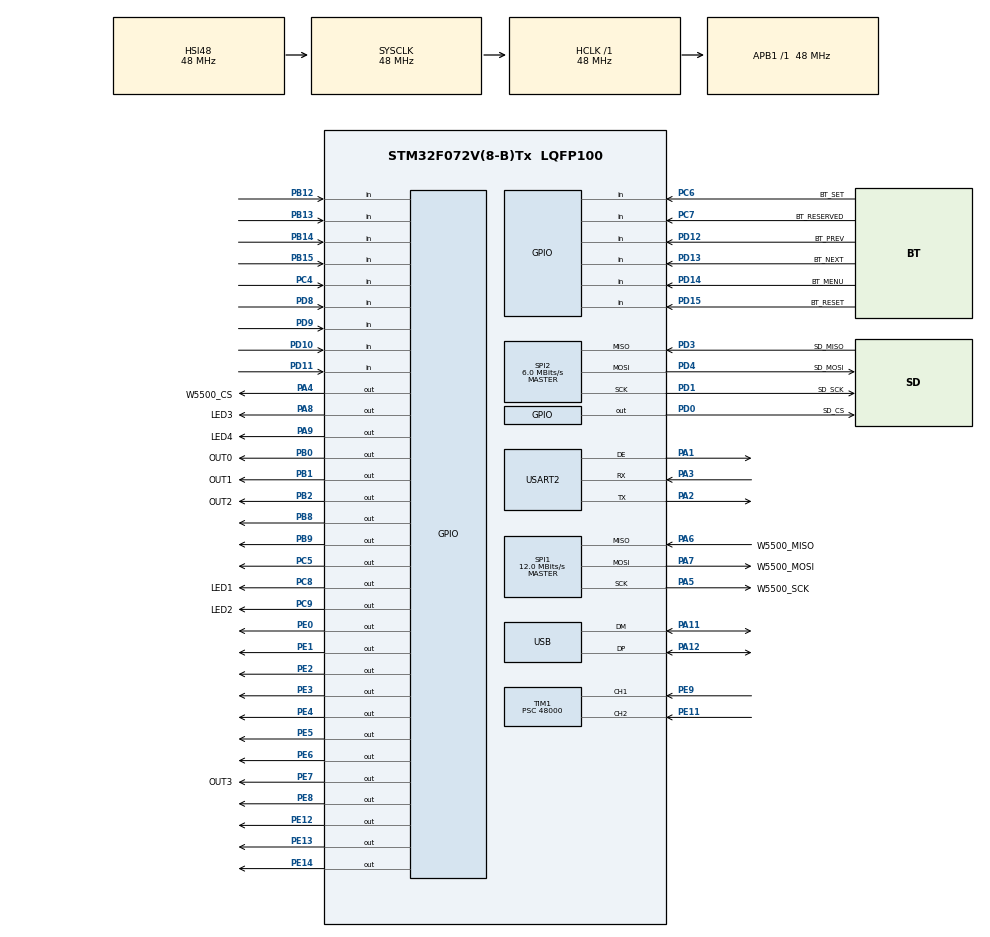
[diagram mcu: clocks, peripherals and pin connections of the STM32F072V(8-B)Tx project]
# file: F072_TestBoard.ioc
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FATFS._MAX_SS=4096
FATFS._USE_LFN=1
Mcu.Family=STM32F0
Mcu.Name=STM32F072V(8-B)Tx
Mcu.Package=LQFP100
NVIC.TIM1_CC_IRQn=true\:0\:0\:false\:false\:true\:true\:true\:true
NVIC.USB_IRQn=true\:0\:0\:false\:false\:true\:false\:true\:true
PA1.Mode=Hardware Flow Control (RS485)
PA1.Signal=USART2_DE
PA11.Mode=Device
PA11.Signal=USB_DM
PA12.Mode=Device
PA12.Signal=USB_DP
PA13.Mode=Serial_Wire
PA13.Signal=SYS_SWDIO
PA14.Mode=Serial_Wire
PA14.Signal=SYS_SWCLK
PA2.Mode=Asynchronous
PA2.Signal=USART2_TX
PA3.Mode=Asynchronous
PA3.Signal=USART2_RX
PA4.GPIO_Label=W5500_CS
PA4.Signal=GPIO_Output
PA5.GPIO_Label=W5500_SCK
PA5.Mode=Full_Duplex_Master
PA5.Signal=SPI1_SCK
PA6.GPIO_Label=W5500_MISO
PA6.Mode=Full_Duplex_Master
PA6.Signal=SPI1_MISO
PA7.GPIO_Label=W5500_MOSI
PA7.Mode=Full_Duplex_Master
PA7.Signal=SPI1_MOSI
PA8.GPIO_Label=LED3
PA8.Signal=GPIO_Output
PA9.GPIO_Label=LED4
PA9.Signal=GPIO_Output
PB0.GPIO_Label=OUT0
PB0.Signal=GPIO_Output
PB1.GPIO_Label=OUT1
PB1.Signal=GPIO_Output
PB12.Signal=GPIO_Input
PB13.Signal=GPIO_Input
PB14.Signal=GPIO_Input
PB15.Signal=GPIO_Input
PB2.GPIO_Label=OUT2
PB2.Signal=GPIO_Output
PB8.Signal=GPIO_Output
PB9.Signal=GPIO_Output
PC14-OSC32_IN.Mode=LSE-External-Oscillator
PC14-OSC32_IN.Signal=RCC_OSC32_IN
PC15-OSC32_OUT.Mode=LSE-External-Oscillator
PC15-OSC32_OUT.Signal=RCC_OSC32_OUT
PC4.GPIO_PuPd=GPIO_NOPULL
PC4.Signal=GPIO_Input
PC5.PinState=GPIO_PIN_SET
PC5.Signal=GPIO_Output
PC6.GPIO_Label=BT_SET
PC6.Signal=GPIO_Input
PC7.GPIO_Label=BT_RESERVED
PC7.Signal=GPIO_Input
PC8.GPIO_Label=LED1
PC8.GPIO_PuPd=GPIO_NOPULL
PC8.PinState=GPIO_PIN_RESET
PC8.Signal=GPIO_Output
PC9.GPIO_Label=LED2
PC9.GPIO_PuPd=GPIO_NOPULL
PC9.Signal=GPIO_Output
PD0.GPIO_Label=SD_CS
PD0.Signal=GPIO_Output
PD1.GPIO_Label=SD_SCK
PD1.Mode=Full_Duplex_Master
PD1.Signal=SPI2_SCK
PD10.Signal=GPIO_Input
PD11.Signal=GPIO_Input
PD12.GPIO_Label=BT_PREV
PD12.Signal=GPIO_Input
PD13.GPIO_Label=BT_NEXT
PD13.Signal=GPIO_Input
PD14.GPIO_Label=BT_MENU
PD14.Signal=GPIO_Input
PD15.GPIO_Label=BT_RESET
PD15.Signal=GPIO_Input
PD3.GPIO_Label=SD_MISO
PD3.Mode=Full_Duplex_Master
PD3.Signal=SPI2_MISO
PD4.GPIO_Label=SD_MOSI
PD4.Mode=Full_Duplex_Master
PD4.Signal=SPI2_MOSI
PD8.Signal=GPIO_Input
PD9.Signal=GPIO_Input
PE0.Signal=GPIO_Output
PE1.Signal=GPIO_Output
PE11.Signal=S_TIM1_CH2
PE12.Signal=GPIO_Output
PE13.Signal=GPIO_Output
PE14.Signal=GPIO_Output
PE2.Signal=GPIO_Output
PE3.Signal=GPIO_Output
PE4.Signal=GPIO_Output
PE5.Signal=GPIO_Output
PE6.Signal=GPIO_Output
PE7.GPIO_Label=OUT3
PE7.Signal=GPIO_Output
PE8.Signal=GPIO_Output
PE9.Signal=S_TIM1_CH1
PF0-OSC_IN.Mode=HSE-External-Oscillator
PF0-OSC_IN.Signal=RCC_OSC_IN
PF1-OSC_OUT.Mode=HSE-External-Oscillator
PF1-OSC_OUT.Signal=RCC_OSC_OUT
ProjectManager.HeapSize=0x200
ProjectManager.StackSize=0x400
ProjectManager.TargetToolchain=STM32CubeIDE
RCC.AHBFreq_Value=48000000
RCC.APB1Freq_Value=48000000
RCC.APB1TimFreq_Value=48000000
RCC.HCLKFreq_Value=48000000
RCC.SYSCLKFreq_VALUE=48000000
RCC.SYSCLKSource=RCC_SYSCLKSOURCE_HSI48
RTC.Date=1
RTC.Hours=10
RTC.Month=RTC_MONTH_JANUARY
RTC.Seconds=1
RTC.WeekDay=RTC_WEEKDAY_MONDAY
RTC.Year=1
SH.S_TIM1_CH1.0=TIM1_CH1,Input_Capture1_from_TI1
SH.S_TIM1_CH2.0=TIM1_CH2,Input_Capture2_from_TI2
SPI1.BaudRatePrescaler=SPI_BAUDRATEPRESCALER_4
SPI1.CalculateBaudRate=12.0 MBits/s
SPI1.DataSize=SPI_DATASIZE_8BIT
SPI1.Direction=SPI_DIRECTION_2LINES
SPI1.Mode=SPI_MODE_MASTER
SPI1.VirtualType=VM_MASTER
SPI2.BaudRatePrescaler=SPI_BAUDRATEPRESCALER_8
SPI2.CalculateBaudRate=6.0 MBits/s
SPI2.DataSize=SPI_DATASIZE_8BIT
SPI2.Direction=SPI_DIRECTION_2LINES
SPI2.Mode=SPI_MODE_MASTER
SPI2.VirtualType=VM_MASTER
TIM1.AutoReloadPreload=TIM_AUTORELOAD_PRELOAD_ENABLE
TIM1.Channel-Input_Capture1_from_TI1=TIM_CHANNEL_1
TIM1.Channel-Input_Capture2_from_TI2=TIM_CHANNEL_2
TIM1.Prescaler=48000
TIM7.Prescaler=48-1
USART2.VirtualMode-Asynchronous=VM_ASYNC
USART2.VirtualMode-Hardware\ Flow\ Control\ (RS485)=VM_ASYNC
USB_DEVICE.CLASS_NAME_FS=CDC
USB_DEVICE.VirtualMode=Cdc
USB_DEVICE.VirtualModeFS=Cdc_FS
VP_FATFS_VS_Generic.Mode=User_defined
VP_RTC_VS_RTC_Activate.Mode=RTC_Enabled
VP_RTC_VS_RTC_Calendar.Mode=RTC_Calendar
VP_TIM1_VS_ClockSourceINT.Mode=Internal
VP_TIM3_VS_ClockSourceINT.Mode=Internal
VP_TIM7_VS_ClockSourceINT.Mode=Enable_Timer
VP_USB_DEVICE_VS_USB_DEVICE_CDC_FS.Mode=CDC_FS
board=custom

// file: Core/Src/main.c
/* USER CODE BEGIN Header */
/**
  ******************************************************************************
  * @file           : main.c
  * @brief          : Main program body
  ******************************************************************************
  * @attention
  *
  * Copyright (c) 2023 STMicroelectronics.
  * All rights reserved.
  *
  * This software is licensed under terms that can be found in the LICENSE file
  * in the root directory of this software component.
  * If no LICENSE file comes with this software, it is provided AS-IS.
  *
  ******************************************************************************
  */
/* USER CODE END Header */
#include "main.h"
#include "fatfs.h"
#include "usb_device.h"

/* USER CODE BEGIN Includes */
#include "LCD.h"
#include "fatfs_sd.h"

//DHCP
#include "socket.h"
#include "wizchip_conf.h"
#include "string.h"
#include "stdio.h"
#include "dhcp.h"
#include "stdbool.h"
#include "mb.h"

#include "structer.h"
/* USER CODE END Includes */

/* USER CODE BEGIN PM */
//------------DHCP--------------
#define DHCP_SOCKET     0
#define SNTP_SOCKET      1
#define HTTP_SOCKET     0
#define MBTCP_PORT      502

#define REG_INPUT_START       0x0001
#define REG_INPUT_NREGS       8

#define REG_HOLDING_START     0x0001
#define REG_HOLDING_NREGS     8

#define REG_COILS_START       0x0001
#define REG_COILS_SIZE        16

#define REG_DISCRETE_START    0x0001
#define REG_DISCRETE_SIZE     16
//-------------------------------
/* USER CODE END PM */

RTC_HandleTypeDef hrtc;

SPI_HandleTypeDef hspi1;
SPI_HandleTypeDef hspi2;

TIM_HandleTypeDef htim1;
TIM_HandleTypeDef htim3;
TIM_HandleTypeDef htim7;

UART_HandleTypeDef huart2;

/* USER CODE BEGIN PV */
/*-------------SD card Fatfs-----------*/
FATFS fs;
FATFS *pfs;
FIL file;
FRESULT FOR; //file operation result
DWORD fre_clust;
uint32_t totalSpace, freeSpace;
/*-------------------------------------*/

/*--------------DHCP--------------------*/
uint8_t dhcp_buffer[1024];
volatile bool ip_assigned = false;

uint16_t usRegInputBuf[REG_INPUT_NREGS] = { 0x1000, 0x1001, 0x1002, 0x1003,
		0x1004, 0x1005, 0x1006, 0x1007 };
uint16_t usRegHoldingBuf[REG_HOLDING_NREGS] = { 0x2000, 0x2001, 0x2002, 0x2003,
		0x2004, 0x2005, 0x2006, 0x2007 };
uint8_t ucRegCoilsBuf[REG_COILS_SIZE / 8] = { 0xaa, 0xfe };
uint8_t ucRegDiscreteBuf[REG_DISCRETE_SIZE / 8] = { 0x98, 0x6e };
/*--------------------------------------*/
/* USER CODE END PV */

void SystemClock_Config(void);
static void MX_GPIO_Init(void);
static void MX_SPI1_Init(void);
static void MX_SPI2_Init(void);
static void MX_TIM1_Init(void);
static void MX_TIM3_Init(void);
static void MX_USART2_UART_Init(void);
static void MX_RTC_Init(void);
static void MX_TIM7_Init(void);
/* USER CODE BEGIN PFP */
static void process_SD_Card(void);

/*----------------DHCP-----------------*/
void W5500_Select() {
	HAL_GPIO_WritePin(W5500_CS_GPIO_Port, W5500_CS_Pin, GPIO_PIN_RESET); //CS LOW
}

void W5500_Unselect() {
	HAL_GPIO_WritePin(W5500_CS_GPIO_Port, W5500_CS_Pin, GPIO_PIN_SET); //CS HIGH
}

uint8_t W5500_ReadByte(void) {
	uint8_t rbuf;
	HAL_SPI_Receive(&hspi1, &rbuf, 1, 0xFFFFFFFF);
	return rbuf;
}

void W5500_WriteByte(uint8_t b) {
	HAL_SPI_Transmit(&hspi1, &b, 1, 0xFFFFFFFF);
}

void W5500_ReadBuff(uint8_t *buff, uint16_t len) {
	HAL_SPI_Receive(&hspi1, buff, len, HAL_MAX_DELAY);
}
void W5500_WriteBuff(uint8_t *buff, uint16_t len) {
	HAL_SPI_Transmit(&hspi1, buff, len, HAL_MAX_DELAY);
}

void Callback_IPAssigned(void) {
//	send_uart("Callback: IP assigned! Leased time: %d sec\r\n",
//			getDHCPLeasetime());
	ip_assigned = true;
}
void Callback_IPConflict(void) {
//	send_uart("Callback: IP conflict!\r\n");
}

void W5500_init() {
//	printf("W5500 init() called!");
	reg_wizchip_cs_cbfunc(W5500_Select, W5500_Unselect);
	reg_wizchip_spi_cbfunc(W5500_ReadByte, W5500_WriteByte);
	reg_wizchip_spiburst_cbfunc(W5500_ReadBuff, W5500_WriteBuff);
	uint8_t rx_tx_buff_sizes[] = { 2, 2, 2, 2, 2, 2, 2, 2 };
	wizchip_init(rx_tx_buff_sizes, rx_tx_buff_sizes);

//	send_uart("Calling DHCP_init()...\r\n");
	wiz_NetInfo net_info = { .mac = { 0xEA, 0x11, 0x22, 0x33, 0x44, 0xEA },
			.dhcp = NETINFO_DHCP };

	setSHAR(net_info.mac);

	DHCP_init(DHCP_SOCKET, dhcp_buffer);

//	send_uart("Registering DHCP callbacks...\r\n");
	reg_dhcp_cbfunc(Callback_IPAssigned, Callback_IPAssigned,Callback_IPConflict);

//	send_uart("Calling DHCP_run()...\r\n");
	uint32_t ctr = 1000000;
	while ((!ip_assigned) && (ctr > 0)) {
		DHCP_run();
		ctr--;
	}

	if (!ip_assigned) {
//		send_uart("\r\nIP was not assigned :(\r\n");
		return;
	}

	getIPfromDHCP(net_info.ip);
	getGWfromDHCP(net_info.gw);
	getSNfromDHCP(net_info.sn);

	uint8_t dns[4];
	getDNSfromDHCP(dns);
//	PRINT_NETINFO(net_info);

//	send_uart("Calling wizchip_setnetinfo()...\r\n");
	wizchip_setnetinfo(&net_info);

}
/*-------------------------------------*/
/* USER CODE END PFP */

int main(void)
{

  /* MCU Configuration--------------------------------------------------------*/

  /* Reset of all peripherals, Initializes the Flash interface and the Systick. */
  HAL_Init();

  /* Configure the system clock */
  SystemClock_Config();

  /* Initialize all configured peripherals */
  MX_GPIO_Init();
  MX_SPI1_Init();
  MX_SPI2_Init();
  MX_TIM1_Init();
  MX_TIM3_Init();
  MX_USART2_UART_Init();
  MX_FATFS_Init();
  MX_USB_DEVICE_Init();
  MX_RTC_Init();
  MX_TIM7_Init();
  /* USER CODE BEGIN 2 */
  HAL_TIM_Base_Start(&htim7);//use for delay_us in LCD

  	HAL_GPIO_WritePin(GPIOE, GPIO_PIN_6, 1);//turn on NTS_OE
	LCD_Init();
	LCD_Clear();
	LCD_Puts(0, 0, "ALO");
//HAL_TIM_OC_Start(&htim3, TIM_CHANNEL_3);
	process_SD_Card();
/*-------------------DHCP----------------*/
	W5500_init();
	HAL_Delay(200);
	eMBTCPInit(MBTCP_PORT);
	HAL_Delay(200);
	eMBEnable();
	/*--------------------------------*/

  /* USER CODE END 2 */

  /* Infinite loop */
  /* USER CODE BEGIN WHILE */
	while (1)
  {
//		HAL_GPIO_TogglePin(OUT0_GPIO_Port, OUT0_Pin);

		HAL_Delay(1000);

    /* USER CODE END WHILE */

  }
}

void SystemClock_Config(void)
{
  RCC_OscInitTypeDef RCC_OscInitStruct = {0};
  RCC_ClkInitTypeDef RCC_ClkInitStruct = {0};
  RCC_PeriphCLKInitTypeDef PeriphClkInit = {0};

  /** Initializes the RCC Oscillators according to the specified parameters
  * in the RCC_OscInitTypeDef structure.
  */
  RCC_OscInitStruct.OscillatorType = RCC_OSCILLATORTYPE_HSI48|RCC_OSCILLATORTYPE_LSI;
  RCC_OscInitStruct.HSI48State = RCC_HSI48_ON;
  RCC_OscInitStruct.LSIState = RCC_LSI_ON;
  RCC_OscInitStruct.PLL.PLLState = RCC_PLL_NONE;
  if (HAL_RCC_OscConfig(&RCC_OscInitStruct) != HAL_OK)
  {
    Error_Handler();
  }

  /** Initializes the CPU, AHB and APB buses clocks
  */
  RCC_ClkInitStruct.ClockType = RCC_CLOCKTYPE_HCLK|RCC_CLOCKTYPE_SYSCLK
                              |RCC_CLOCKTYPE_PCLK1;
  RCC_ClkInitStruct.SYSCLKSource = RCC_SYSCLKSOURCE_HSI48;
  RCC_ClkInitStruct.AHBCLKDivider = RCC_SYSCLK_DIV1;
  RCC_ClkInitStruct.APB1CLKDivider = RCC_HCLK_DIV1;

  if (HAL_RCC_ClockConfig(&RCC_ClkInitStruct, FLASH_LATENCY_1) != HAL_OK)
  {
    Error_Handler();
  }
  PeriphClkInit.PeriphClockSelection = RCC_PERIPHCLK_USB|RCC_PERIPHCLK_USART2
                              |RCC_PERIPHCLK_RTC;
  PeriphClkInit.Usart2ClockSelection = RCC_USART2CLKSOURCE_PCLK1;
  PeriphClkInit.RTCClockSelection = RCC_RTCCLKSOURCE_LSI;
  PeriphClkInit.UsbClockSelection = RCC_USBCLKSOURCE_HSI48;

  if (HAL_RCCEx_PeriphCLKConfig(&PeriphClkInit) != HAL_OK)
  {
    Error_Handler();
  }
}

static void MX_RTC_Init(void)
{

  RTC_TimeTypeDef sTime = {0};
  RTC_DateTypeDef sDate = {0};

  /** Initialize RTC Only
  */
  hrtc.Instance = RTC;
  hrtc.Init.HourFormat = RTC_HOURFORMAT_24;
  hrtc.Init.AsynchPrediv = 127;
  hrtc.Init.SynchPrediv = 255;
  hrtc.Init.OutPut = RTC_OUTPUT_DISABLE;
  hrtc.Init.OutPutPolarity = RTC_OUTPUT_POLARITY_HIGH;
  hrtc.Init.OutPutType = RTC_OUTPUT_TYPE_OPENDRAIN;
  if (HAL_RTC_Init(&hrtc) != HAL_OK)
  {
    Error_Handler();
  }

  /** Initialize RTC and set the Time and Date
  */
  sTime.Hours = 0x10;
  sTime.Minutes = 0x0;
  sTime.Seconds = 0x1;
  sTime.DayLightSaving = RTC_DAYLIGHTSAVING_NONE;
  sTime.StoreOperation = RTC_STOREOPERATION_RESET;
  if (HAL_RTC_SetTime(&hrtc, &sTime, RTC_FORMAT_BCD) != HAL_OK)
  {
    Error_Handler();
  }
  sDate.WeekDay = RTC_WEEKDAY_MONDAY;
  sDate.Month = RTC_MONTH_JANUARY;
  sDate.Date = 0x1;
  sDate.Year = 0x1;

  if (HAL_RTC_SetDate(&hrtc, &sDate, RTC_FORMAT_BCD) != HAL_OK)
  {
    Error_Handler();
  }

}

static void MX_SPI1_Init(void)
{

  /* SPI1 parameter configuration*/
  hspi1.Instance = SPI1;
  hspi1.Init.Mode = SPI_MODE_MASTER;
  hspi1.Init.Direction = SPI_DIRECTION_2LINES;
  hspi1.Init.DataSize = SPI_DATASIZE_8BIT;
  hspi1.Init.CLKPolarity = SPI_POLARITY_LOW;
  hspi1.Init.CLKPhase = SPI_PHASE_1EDGE;
  hspi1.Init.NSS = SPI_NSS_SOFT;
  hspi1.Init.BaudRatePrescaler = SPI_BAUDRATEPRESCALER_4;
  hspi1.Init.FirstBit = SPI_FIRSTBIT_MSB;
  hspi1.Init.TIMode = SPI_TIMODE_DISABLE;
  hspi1.Init.CRCCalculation = SPI_CRCCALCULATION_DISABLE;
  hspi1.Init.CRCPolynomial = 7;
  hspi1.Init.CRCLength = SPI_CRC_LENGTH_DATASIZE;
  hspi1.Init.NSSPMode = SPI_NSS_PULSE_ENABLE;
  if (HAL_SPI_Init(&hspi1) != HAL_OK)
  {
    Error_Handler();
  }

}

static void MX_SPI2_Init(void)
{

  /* SPI2 parameter configuration*/
  hspi2.Instance = SPI2;
  hspi2.Init.Mode = SPI_MODE_MASTER;
  hspi2.Init.Direction = SPI_DIRECTION_2LINES;
  hspi2.Init.DataSize = SPI_DATASIZE_8BIT;
  hspi2.Init.CLKPolarity = SPI_POLARITY_LOW;
  hspi2.Init.CLKPhase = SPI_PHASE_1EDGE;
  hspi2.Init.NSS = SPI_NSS_SOFT;
  hspi2.Init.BaudRatePrescaler = SPI_BAUDRATEPRESCALER_8;
  hspi2.Init.FirstBit = SPI_FIRSTBIT_MSB;
  hspi2.Init.TIMode = SPI_TIMODE_DISABLE;
  hspi2.Init.CRCCalculation = SPI_CRCCALCULATION_DISABLE;
  hspi2.Init.CRCPolynomial = 7;
  hspi2.Init.CRCLength = SPI_CRC_LENGTH_DATASIZE;
  hspi2.Init.NSSPMode = SPI_NSS_PULSE_ENABLE;
  if (HAL_SPI_Init(&hspi2) != HAL_OK)
  {
    Error_Handler();
  }

}

static void MX_TIM1_Init(void)
{

  TIM_ClockConfigTypeDef sClockSourceConfig = {0};
  TIM_MasterConfigTypeDef sMasterConfig = {0};
  TIM_IC_InitTypeDef sConfigIC = {0};

  htim1.Instance = TIM1;
  htim1.Init.Prescaler = 48000;
  htim1.Init.CounterMode = TIM_COUNTERMODE_UP;
  htim1.Init.Period = 65535;
  htim1.Init.ClockDivision = TIM_CLOCKDIVISION_DIV1;
  htim1.Init.RepetitionCounter = 0;
  htim1.Init.AutoReloadPreload = TIM_AUTORELOAD_PRELOAD_ENABLE;
  if (HAL_TIM_Base_Init(&htim1) != HAL_OK)
  {
    Error_Handler();
  }
  sClockSourceConfig.ClockSource = TIM_CLOCKSOURCE_INTERNAL;
  if (HAL_TIM_ConfigClockSource(&htim1, &sClockSourceConfig) != HAL_OK)
  {
    Error_Handler();
  }
  if (HAL_TIM_IC_Init(&htim1) != HAL_OK)
  {
    Error_Handler();
  }
  sMasterConfig.MasterOutputTrigger = TIM_TRGO_RESET;
  sMasterConfig.MasterSlaveMode = TIM_MASTERSLAVEMODE_DISABLE;
  if (HAL_TIMEx_MasterConfigSynchronization(&htim1, &sMasterConfig) != HAL_OK)
  {
    Error_Handler();
  }
  sConfigIC.ICPolarity = TIM_INPUTCHANNELPOLARITY_RISING;
  sConfigIC.ICSelection = TIM_ICSELECTION_DIRECTTI;
  sConfigIC.ICPrescaler = TIM_ICPSC_DIV1;
  sConfigIC.ICFilter = 0;
  if (HAL_TIM_IC_ConfigChannel(&htim1, &sConfigIC, TIM_CHANNEL_1) != HAL_OK)
  {
    Error_Handler();
  }
  if (HAL_TIM_IC_ConfigChannel(&htim1, &sConfigIC, TIM_CHANNEL_2) != HAL_OK)
  {
    Error_Handler();
  }

}

static void MX_TIM3_Init(void)
{

  TIM_ClockConfigTypeDef sClockSourceConfig = {0};
  TIM_MasterConfigTypeDef sMasterConfig = {0};

  htim3.Instance = TIM3;
  htim3.Init.Prescaler = 0;
  htim3.Init.CounterMode = TIM_COUNTERMODE_UP;
  htim3.Init.Period = 65535;
  htim3.Init.ClockDivision = TIM_CLOCKDIVISION_DIV1;
  htim3.Init.AutoReloadPreload = TIM_AUTORELOAD_PRELOAD_DISABLE;
  if (HAL_TIM_Base_Init(&htim3) != HAL_OK)
  {
    Error_Handler();
  }
  sClockSourceConfig.ClockSource = TIM_CLOCKSOURCE_INTERNAL;
  if (HAL_TIM_ConfigClockSource(&htim3, &sClockSourceConfig) != HAL_OK)
  {
    Error_Handler();
  }
  sMasterConfig.MasterOutputTrigger = TIM_TRGO_RESET;
  sMasterConfig.MasterSlaveMode = TIM_MASTERSLAVEMODE_DISABLE;
  if (HAL_TIMEx_MasterConfigSynchronization(&htim3, &sMasterConfig) != HAL_OK)
  {
    Error_Handler();
  }

}

static void MX_TIM7_Init(void)
{

  TIM_MasterConfigTypeDef sMasterConfig = {0};

  htim7.Instance = TIM7;
  htim7.Init.Prescaler = 48-1;
  htim7.Init.CounterMode = TIM_COUNTERMODE_UP;
  htim7.Init.Period = 65535;
  htim7.Init.AutoReloadPreload = TIM_AUTORELOAD_PRELOAD_DISABLE;
  if (HAL_TIM_Base_Init(&htim7) != HAL_OK)
  {
    Error_Handler();
  }
  sMasterConfig.MasterOutputTrigger = TIM_TRGO_RESET;
  sMasterConfig.MasterSlaveMode = TIM_MASTERSLAVEMODE_DISABLE;
  if (HAL_TIMEx_MasterConfigSynchronization(&htim7, &sMasterConfig) != HAL_OK)
  {
    Error_Handler();
  }

}

static void MX_USART2_UART_Init(void)
{

  huart2.Instance = USART2;
  huart2.Init.BaudRate = 38400;
  huart2.Init.WordLength = UART_WORDLENGTH_8B;
  huart2.Init.StopBits = UART_STOPBITS_1;
  huart2.Init.Parity = UART_PARITY_NONE;
  huart2.Init.Mode = UART_MODE_TX_RX;
  huart2.Init.HwFlowCtl = UART_HWCONTROL_NONE;
  huart2.Init.OverSampling = UART_OVERSAMPLING_16;
  huart2.Init.OneBitSampling = UART_ONE_BIT_SAMPLE_DISABLE;
  huart2.AdvancedInit.AdvFeatureInit = UART_ADVFEATURE_NO_INIT;
  if (HAL_RS485Ex_Init(&huart2, UART_DE_POLARITY_HIGH, 0, 0) != HAL_OK)
  {
    Error_Handler();
  }

}

static void MX_GPIO_Init(void)
{
  GPIO_InitTypeDef GPIO_InitStruct = {0};

  /* GPIO Ports Clock Enable */
  __HAL_RCC_GPIOE_CLK_ENABLE();
  __HAL_RCC_GPIOC_CLK_ENABLE();
  __HAL_RCC_GPIOF_CLK_ENABLE();
  __HAL_RCC_GPIOA_CLK_ENABLE();
  __HAL_RCC_GPIOB_CLK_ENABLE();
  __HAL_RCC_GPIOD_CLK_ENABLE();

  /*Configure GPIO pin Output Level */
  HAL_GPIO_WritePin(GPIOE, GPIO_PIN_2|GPIO_PIN_3|GPIO_PIN_4|GPIO_PIN_5
                          |GPIO_PIN_6|OUT3_Pin|GPIO_PIN_8|GPIO_PIN_12
                          |GPIO_PIN_13|GPIO_PIN_14|GPIO_PIN_0|GPIO_PIN_1, GPIO_PIN_RESET);

  /*Configure GPIO pin Output Level */
  HAL_GPIO_WritePin(GPIOA, W5500_CS_Pin|LED3_Pin|LED4_Pin, GPIO_PIN_RESET);

  /*Configure GPIO pin Output Level */
  HAL_GPIO_WritePin(GPIOC, GPIO_PIN_5, GPIO_PIN_SET);

  /*Configure GPIO pin Output Level */
  HAL_GPIO_WritePin(GPIOB, OUT0_Pin|OUT1_Pin|OUT2_Pin|GPIO_PIN_8
                          |GPIO_PIN_9, GPIO_PIN_RESET);

  /*Configure GPIO pin Output Level */
  HAL_GPIO_WritePin(GPIOC, LED1_Pin|LED2_Pin, GPIO_PIN_RESET);

  /*Configure GPIO pin Output Level */
  HAL_GPIO_WritePin(SD_CS_GPIO_Port, SD_CS_Pin, GPIO_PIN_RESET);

  /*Configure GPIO pins : PE2 PE3 PE4 PE5
                           PE6 OUT3_Pin PE8 PE12
                           PE13 PE14 PE0 PE1 */
  GPIO_InitStruct.Pin = GPIO_PIN_2|GPIO_PIN_3|GPIO_PIN_4|GPIO_PIN_5
                          |GPIO_PIN_6|OUT3_Pin|GPIO_PIN_8|GPIO_PIN_12
                          |GPIO_PIN_13|GPIO_PIN_14|GPIO_PIN_0|GPIO_PIN_1;
  GPIO_InitStruct.Mode = GPIO_MODE_OUTPUT_PP;
  GPIO_InitStruct.Pull = GPIO_NOPULL;
  GPIO_InitStruct.Speed = GPIO_SPEED_FREQ_LOW;
  HAL_GPIO_Init(GPIOE, &GPIO_InitStruct);

  /*Configure GPIO pins : W5500_CS_Pin LED3_Pin LED4_Pin */
  GPIO_InitStruct.Pin = W5500_CS_Pin|LED3_Pin|LED4_Pin;
  GPIO_InitStruct.Mode = GPIO_MODE_OUTPUT_PP;
  GPIO_InitStruct.Pull = GPIO_NOPULL;
  GPIO_InitStruct.Speed = GPIO_SPEED_FREQ_LOW;
  HAL_GPIO_Init(GPIOA, &GPIO_InitStruct);

  /*Configure GPIO pins : PC4 BT_SET_Pin BT_RESERVED_Pin */
  GPIO_InitStruct.Pin = GPIO_PIN_4|BT_SET_Pin|BT_RESERVED_Pin;
  GPIO_InitStruct.Mode = GPIO_MODE_INPUT;
  GPIO_InitStruct.Pull = GPIO_NOPULL;
  HAL_GPIO_Init(GPIOC, &GPIO_InitStruct);

  /*Configure GPIO pins : PC5 LED1_Pin LED2_Pin */
  GPIO_InitStruct.Pin = GPIO_PIN_5|LED1_Pin|LED2_Pin;
  GPIO_InitStruct.Mode = GPIO_MODE_OUTPUT_PP;
  GPIO_InitStruct.Pull = GPIO_NOPULL;
  GPIO_InitStruct.Speed = GPIO_SPEED_FREQ_LOW;
  HAL_GPIO_Init(GPIOC, &GPIO_InitStruct);

  /*Configure GPIO pins : OUT0_Pin OUT1_Pin OUT2_Pin PB8
                           PB9 */
  GPIO_InitStruct.Pin = OUT0_Pin|OUT1_Pin|OUT2_Pin|GPIO_PIN_8
                          |GPIO_PIN_9;
  GPIO_InitStruct.Mode = GPIO_MODE_OUTPUT_PP;
  GPIO_InitStruct.Pull = GPIO_NOPULL;
  GPIO_InitStruct.Speed = GPIO_SPEED_FREQ_LOW;
  HAL_GPIO_Init(GPIOB, &GPIO_InitStruct);

  /*Configure GPIO pins : PB12 PB13 PB14 PB15 */
  GPIO_InitStruct.Pin = GPIO_PIN_12|GPIO_PIN_13|GPIO_PIN_14|GPIO_PIN_15;
  GPIO_InitStruct.Mode = GPIO_MODE_INPUT;
  GPIO_InitStruct.Pull = GPIO_NOPULL;
  HAL_GPIO_Init(GPIOB, &GPIO_InitStruct);

  /*Configure GPIO pins : PD8 PD9 PD10 PD11
                           BT_PREV_Pin BT_NEXT_Pin BT_MENU_Pin BT_RESET_Pin */
  GPIO_InitStruct.Pin = GPIO_PIN_8|GPIO_PIN_9|GPIO_PIN_10|GPIO_PIN_11
                          |BT_PREV_Pin|BT_NEXT_Pin|BT_MENU_Pin|BT_RESET_Pin;
  GPIO_InitStruct.Mode = GPIO_MODE_INPUT;
  GPIO_InitStruct.Pull = GPIO_NOPULL;
  HAL_GPIO_Init(GPIOD, &GPIO_InitStruct);

  /*Configure GPIO pin : SD_CS_Pin */
  GPIO_InitStruct.Pin = SD_CS_Pin;
  GPIO_InitStruct.Mode = GPIO_MODE_OUTPUT_PP;
  GPIO_InitStruct.Pull = GPIO_NOPULL;
  GPIO_InitStruct.Speed = GPIO_SPEED_FREQ_LOW;
  HAL_GPIO_Init(SD_CS_GPIO_Port, &GPIO_InitStruct);

}

/* USER CODE BEGIN 4 */
static void process_SD_Card(void) {
	FATFS FatFs;
	FIL fil;	//file
	char buff[100];

	static dataMeasure mdata =
	{
	  {-1,-2,30,40,-100,1110},
	  {45,3,2,1,2,3},1
	};

	sprintf(buff,"20%02d-%02d-%02d %02d:%02d endline\r\n", mdata.time.year, mdata.time.month,
			mdata.time.day, mdata.time.hour, mdata.time.minute);

	do {
		//mount SD card
		if (f_mount(&FatFs, "", 0) != FR_OK) //0 = mount late, 1 = mount now
				{
			break;
		}

		//Open file
		if (f_open(&fil, "test.csv", FA_READ | FA_OPEN_ALWAYS | FA_WRITE) ///FA_OPEN_ALWAYS
				!= FR_OK) //In this mode, it will create the file if file not existed
				{
			break;
		}
		  unsigned int BytesWr;
		//Write data to "test.txt"
//		f_puts("This is a sample", &fil); //write string to file

		f_lseek(&fil, f_size(&fil));
		f_write(&fil, buff, strlen(buff),&BytesWr);
		//Close file
		if (f_close(&fil) != FR_OK) {
			break;
		}

	} while (0);
	f_mount(NULL, "", 0); //unmount SD card

}
/* USER CODE END 4 */

void Error_Handler(void)
{
  __disable_irq();
  while (1)
  {
  }
}
